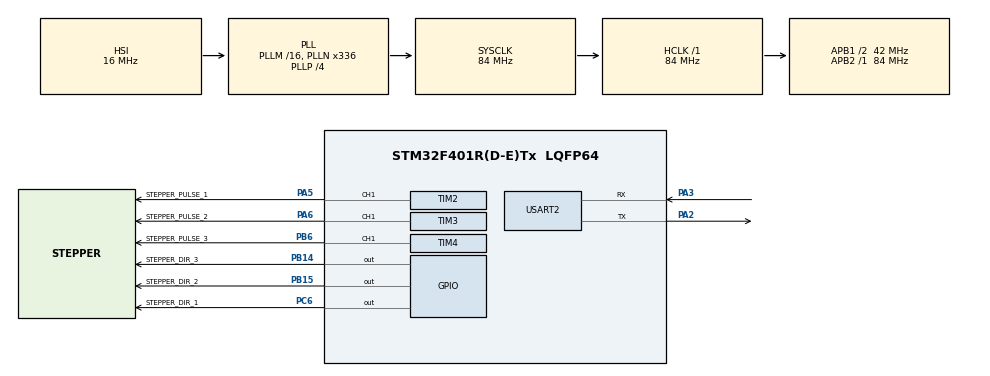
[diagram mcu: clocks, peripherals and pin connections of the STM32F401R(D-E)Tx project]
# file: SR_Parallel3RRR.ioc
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Dma.Request0=USART2_RX
Dma.USART2_RX.0.Direction=DMA_PERIPH_TO_MEMORY
Dma.USART2_RX.0.FIFOMode=DMA_FIFOMODE_DISABLE
Dma.USART2_RX.0.Instance=DMA1_Stream5
Dma.USART2_RX.0.MemDataAlignment=DMA_MDATAALIGN_BYTE
Dma.USART2_RX.0.MemInc=DMA_MINC_ENABLE
Dma.USART2_RX.0.Mode=DMA_NORMAL
Dma.USART2_RX.0.PeriphDataAlignment=DMA_PDATAALIGN_BYTE
Dma.USART2_RX.0.PeriphInc=DMA_PINC_DISABLE
Dma.USART2_RX.0.Priority=DMA_PRIORITY_LOW
Mcu.Family=STM32F4
Mcu.Name=STM32F401R(D-E)Tx
Mcu.Package=LQFP64
NVIC.DMA1_Stream5_IRQn=true\:0\:0\:false\:false\:true\:false\:true\:true
NVIC.PriorityGroup=NVIC_PRIORITYGROUP_0
NVIC.TIM2_IRQn=true\:0\:0\:false\:false\:true\:true\:true\:true
NVIC.TIM3_IRQn=true\:0\:0\:false\:false\:true\:true\:true\:true
NVIC.TIM4_IRQn=true\:0\:0\:false\:false\:true\:true\:true\:true
NVIC.USART2_IRQn=true\:0\:0\:false\:false\:true\:true\:true\:true
PA13.GPIO_Label=TMS
PA13.Mode=Serial_Wire
PA13.Signal=SYS_JTMS-SWDIO
PA14.GPIO_Label=TCK
PA14.Mode=Serial_Wire
PA14.Signal=SYS_JTCK-SWCLK
PA2.Mode=Asynchronous
PA2.Signal=USART2_TX
PA3.Mode=Asynchronous
PA3.Signal=USART2_RX
PA5.GPIO_Label=STEPPER_PULSE_1
PA5.Signal=S_TIM2_CH1_ETR
PA6.GPIO_Label=STEPPER_PULSE_2
PA6.Signal=S_TIM3_CH1
PB14.GPIO_Label=STEPPER_DIR_3
PB14.Signal=GPIO_Output
PB15.GPIO_Label=STEPPER_DIR_2
PB15.Signal=GPIO_Output
PB3.GPIO_Label=SWO
PB3.Signal=SYS_JTDO-SWO
PB6.GPIO_Label=STEPPER_PULSE_3
PB6.Signal=S_TIM4_CH1
PC14-OSC32_IN.Mode=LSE-External-Oscillator
PC14-OSC32_IN.Signal=RCC_OSC32_IN
PC15-OSC32_OUT.Mode=LSE-External-Oscillator
PC15-OSC32_OUT.Signal=RCC_OSC32_OUT
PC6.GPIO_Label=STEPPER_DIR_1
PC6.Signal=GPIO_Output
PH0\ -\ OSC_IN.Mode=HSE-External-Clock-Source
PH0\ -\ OSC_IN.Signal=RCC_OSC_IN
PH1\ -\ OSC_OUT.Mode=HSE-External-Clock-Source
PH1\ -\ OSC_OUT.Signal=RCC_OSC_OUT
ProjectManager.HeapSize=0x200
ProjectManager.StackSize=0x400
ProjectManager.TargetToolchain=STM32CubeIDE
RCC.48MHZClocksFreq_Value=48000000
RCC.AHBFreq_Value=84000000
RCC.APB1CLKDivider=RCC_HCLK_DIV2
RCC.APB1Freq_Value=42000000
RCC.APB1TimFreq_Value=84000000
RCC.APB2Freq_Value=84000000
RCC.APB2TimFreq_Value=84000000
RCC.CortexFreq_Value=84000000
RCC.HCLKFreq_Value=84000000
RCC.HSE_VALUE=8000000
RCC.HSI_VALUE=16000000
RCC.PLLN=336
RCC.PLLP=RCC_PLLP_DIV4
RCC.PLLQ=7
RCC.SYSCLKFreq_VALUE=84000000
RCC.SYSCLKSource=RCC_SYSCLKSOURCE_PLLCLK
RCC.VCOOutputFreq_Value=336000000
SH.S_TIM2_CH1_ETR.0=TIM2_CH1,Output Compare1 CH1
SH.S_TIM3_CH1.0=TIM3_CH1,Output Compare1 CH1
SH.S_TIM4_CH1.0=TIM4_CH1,Output Compare1 CH1
TIM2.AutoReloadPreload=TIM_AUTORELOAD_PRELOAD_ENABLE
TIM2.Channel-Output\ Compare1\ CH1=TIM_CHANNEL_1
TIM2.OCMode_1=TIM_OCMODE_TOGGLE
TIM2.Period=65535
TIM2.Prescaler=400-1
TIM2.Pulse-Output\ Compare1\ CH1=1
TIM2.TIM_MasterOutputTrigger=TIM_TRGO_UPDATE
TIM3.AutoReloadPreload=TIM_AUTORELOAD_PRELOAD_ENABLE
TIM3.Channel-Output\ Compare1\ CH1=TIM_CHANNEL_1
TIM3.OC1Preload=DISABLE
TIM3.OCMode_1=TIM_OCMODE_TOGGLE
TIM3.Prescaler=400-1
TIM3.Pulse-Output\ Compare1\ CH1=1
TIM3.TIM_MasterOutputTrigger=TIM_TRGO_UPDATE
TIM4.AutoReloadPreload=TIM_AUTORELOAD_PRELOAD_ENABLE
TIM4.Channel-Output\ Compare1\ CH1=TIM_CHANNEL_1
TIM4.OCMode_1=TIM_OCMODE_TOGGLE
TIM4.Prescaler=400-1
TIM4.Pulse-Output\ Compare1\ CH1=1
TIM4.TIM_MasterOutputTrigger=TIM_TRGO_UPDATE
TIM5.Prescaler=84-1
USART2.VirtualMode=VM_ASYNC
VP_TIM5_VS_ClockSourceINT.Mode=Internal
board=NUCLEO-F401RE

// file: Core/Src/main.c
/* USER CODE BEGIN Header */
/**
  ******************************************************************************
  * @file           : main.c
  * @brief          : Main program body
  ******************************************************************************
  * @attention
  *
  * Copyright (c) 2022 STMicroelectronics.
  * All rights reserved.
  *
  * This software is licensed under terms that can be found in the LICENSE file
  * in the root directory of this software component.
  * If no LICENSE file comes with this software, it is provided AS-IS.
  *
  ******************************************************************************
  */
/* USER CODE END Header */
#include "main.h"

/* USER CODE BEGIN Includes */

#include <string.h>
#include <stdio.h>
#include <math.h>
#include "./motor_const.h"

/* USER CODE END Includes */

/* USER CODE BEGIN PD */

#define RxBuf_SIZE 64
#define MainBuf_SIZE 128

uint8_t RxBuf[RxBuf_SIZE];
uint8_t MainBuf[MainBuf_SIZE];

/* USER CODE END PD */

TIM_HandleTypeDef htim2;
TIM_HandleTypeDef htim3;
TIM_HandleTypeDef htim4;
TIM_HandleTypeDef htim5;

UART_HandleTypeDef huart2;
DMA_HandleTypeDef hdma_usart2_rx;

/* USER CODE BEGIN PV */

motorInfo test;

motorInfo motor_1;
motorInfo motor_2;
motorInfo motor_3;

volatile int flag_motor_1_done=0;
volatile int flag_motor_2_done=0;
volatile int flag_motor_3_done=0;

volatile int flag_command_recieved = 0;
uint16_t size_recieved=0;

/* USER CODE END PV */

void SystemClock_Config(void);
static void MX_GPIO_Init(void);
static void MX_TIM3_Init(void);
static void MX_TIM4_Init(void);
static void MX_TIM2_Init(void);
static void MX_DMA_Init(void);
static void MX_USART2_UART_Init(void);
static void MX_TIM5_Init(void);
/* USER CODE BEGIN PFP */

int _write( int file,unsigned char *ptr, int len)
{
	HAL_UART_Transmit(&huart2, ptr, len, HAL_MAX_DELAY);
	return len;
}

float correction(unsigned long steps, unsigned long accel)
{

	if(accel ==0)
		return 0;
	if(steps ==0)
		return 0;
	return pow(50,0.5)*((-0.1956)*pow(steps,-0.4198)+(0.1559*0.9885))/sqrt(accel);
}

float estimate_ttc(motorInfo *motor)
{
	float tmp;
	if(motor->accel_stop <= motor->peak_velocity)
		{
		motor->acc_time= motor->max_speed/(double)motor->acceleration;
		tmp = (motor->max_speed)*((double)1/motor->acceleration +(double)1/motor->deceleration);
		//tmp = (motor->max_speed)*((double)1/motor->acceleration +(double)1/motor->deceleration)-correction(motor->accel_stop,motor->acceleration) - correction(motor->total_steps-motor->decel_start,motor->deceleration);
		tmp += (motor->decel_start-motor->accel_stop)*(double)ALPHA*1000/motor->max_speed;
		}
	else
		{
			/*tmp = (double)sqrt(2000*ALPHA*motor->total_steps);
			tmp *=1.0/sqrt(motor->acceleration) + 1.0/sqrt(motor->deceleration);
			*/
			motor->acc_time=sqrt(2000*ALPHA*motor->peak_velocity/motor->acceleration);
			//tmp=sqrt(2000*ALPHA*motor->peak_velocity/motor->acceleration)-correction(motor->peak_velocity,motor->acceleration);
			tmp=sqrt(2000*ALPHA*motor->peak_velocity/motor->acceleration);

		//	tmp+=sqrt(2000*ALPHA*(motor->total_steps-motor->peak_velocity)/motor->deceleration)-correction(motor->total_steps-motor->peak_velocity,motor->deceleration);
			tmp+=sqrt(2000*ALPHA*(motor->total_steps-motor->peak_velocity)/motor->deceleration);
			motor->dec_time=sqrt(2000*ALPHA*(motor->total_steps-motor->peak_velocity)/motor->deceleration);

		}

	//motor->time_before_correction =tmp;
	return tmp;
}

double acc_equation(unsigned long steps, unsigned long time,unsigned long acc)//równanie opisujące przyspieszenie w przypadku z ruchem jednostajnym
{
	double eq = MAX_VEL*1000/acc;
	eq -= 2*pow(50,0.5)*(0.1559*0.9885)/sqrt(acc);
	eq -= 2*pow(50,0.5)*(-0.1956)*pow(MAX_VEL/(2*ALPHA),-0.4198)/pow(acc,0.5-0.4198);
	eq -= time-steps*ALPHA/MAX_VEL;

	return eq;
}

unsigned long secant_acc(unsigned long steps, unsigned long time)
{

	//ograniczyc wartosci

	double x_n2=0.01;
	double x_n1=10000;

	double tmp;

	while(fabs(x_n1-x_n2)>=0.01)
	{
		tmp=x_n1;
		x_n1=x_n1-acc_equation(steps, time, x_n1)*(x_n1-x_n2)/(acc_equation(steps, time, x_n1)-acc_equation(steps, time, x_n2));
		x_n2=tmp;
	}

	return x_n1;

}

unsigned long desired_acceleration(unsigned long steps, unsigned long time)
{
	//jeżeli czas jest za krótki by wykonać ruch z maksymalną prędkością, zostanie wydłużony do tego czasu, i odwrotnie jezeli czas jest za dlugi

/*
		if(ALPHA*steps/MAX_VEL > time)
			time = 0.95*(ALPHA*steps/MAX_VEL);//mnożymy przez 0.95 by zapewnić płynniejsze przyspieszanie niż gwałtowny skok z 0 do max

		if(ALPHA*steps/MIN_VEL < time)
			time = 1.05*(ALPHA*steps/MIN_VEL);//jezeli czas jest za długi by ruch w nim wykonac z prędkością minimalną
*/
	//	printf("time: %ld\r\n",time);

		unsigned long t_acc;//czas w jakim wykonany by był ruch z największym przyspieszeniem nie powodującym ruchu jednostajnego
/*
		t_acc=2000*ALPHA*steps;
		printf("timeacc: %f\r\n",t_acc);
		t_acc -= 2000*pow(50,0.5)*((-0.1956)*pow(steps/2,-0.4198)+(0.1559*0.9885))*sqrt(ALPHA*steps);
		printf("timeacc: %f\r\n",t_acc);
		t_acc /=MAX_VEL;
		printf("timeacc: %f\r\n",t_acc);
		printf("FIN\r\n");
*/

		t_acc = 2000000*ALPHA*steps/MAX_VEL;
		unsigned long desired_acc;

		printf("t_acc: %lu\r\n",t_acc);
		double tmp;

		if(time>=t_acc) //przypadek bez ruchu jednostajnego
		{
			/*
			tmp= pow(2000*(sqrt(ALPHA*steps)-pow(50,0.5)*((-0.1956)*pow(steps*0.5,-0.4198)+(0.1559*0.9885))),2);
			printf("calculated_acc: %f\r\n",tmp);

			tmp *=1000;
			printf("calculated_acc: %f\r\n",tmp);

			tmp /=pow(time,2);
			desired_acc=tmp;
			printf("calculated_acc: %f\r\n",tmp);
			printf("FIN\r\n");
*/

			tmp = 4*ALPHA*steps/pow(time,2);
			desired_acc = tmp*pow(1000,3);

		}
		else // przypadek z ruchem jednostajnym
		{

			//desired_acc= secant_acc(steps, time);
			tmp = MAX_VEL*time-pow(1000,2)*ALPHA*steps;
			desired_acc = 1000*pow(MAX_VEL,2)/tmp;

		}

		if(desired_acc>8000000)//maksymalne możliwe przyspieszenie, wartość trochę mniejsza niż wyliczona by nie dopuścić do zbyt gwałtownych ruchów
			desired_acc=8000000;

			return desired_acc;

}

void init_movement(motorInfo *motor, long total_steps, unsigned long accel, unsigned long decel, unsigned max)
{

		max = max <= MIN_VEL? MIN_VEL:max;
		motor->max_speed = (max >= MAX_VEL) ? MAX_VEL : max;
		motor->dir = total_steps>0 ? 1 : -1;

		HAL_GPIO_WritePin(motor->GPIOX, motor->GPIO_Label, motor->dir > 0);

		motor->total_steps=total_steps>0?total_steps:-total_steps;
		motor->rest=0;
		motor->state=ACCEL;

		motor->auto_reload=0.676*CLK_FRQ*sqrt(2000*ALPHA/accel)/(motor->timer->Instance->PSC+1);// length of current pulse in timer ticks
		motor->max_speed_ARR = CLK_FRQ*ALPHA*1000/motor->max_speed/(motor->timer->Instance->PSC+1);
		motor->accel_stop = motor->max_speed*motor->max_speed/(2000*ALPHA*accel);

		if(!motor->accel_stop)
			motor->accel_stop =1 ;

		motor->peak_velocity=(motor->total_steps*(unsigned long long)decel)/(accel+decel);

		if(!motor->peak_velocity)
			motor->peak_velocity =1;

		if(motor->accel_stop <= motor->peak_velocity)
			motor->decel_start= (motor->total_steps-(motor->accel_stop*accel)/decel);
		else
			motor->decel_start = motor->peak_velocity;

		motor->movement_done=0;
		motor->acceleration=accel;
		motor->deceleration=decel;
		motor->steps=0;

		motor->time_to_complete=estimate_ttc(motor);

		motor->T1=motor->T2=motor->T3=0;

		motor->timer->Instance->ARR=motor->auto_reload;
		//generujemy update resetując rejestry
		//bez tego nie działa, 4 godziny życia za mną :(
		motor->timer->Instance->EGR |= TIM_EGR_UG;
//printf("TUTAJ");

}

void begin_movement(motorInfo *motor)
{
	motor->T1 = __HAL_TIM_GET_COUNTER(&htim5);
	motor->movement_start=__HAL_TIM_GET_COUNTER(&htim5);
	HAL_TIM_OC_Start(motor->timer,TIM_CHANNEL_1);
	HAL_TIM_Base_Start_IT(motor->timer);
}

void init_movement_time(motorInfo *motor,long total_steps, unsigned long time)
{

	unsigned long accel = desired_acceleration(abs(total_steps), time);

	//printf("Calculated:  %d\r\n",accel);
	init_movement(motor, total_steps, accel, accel, MAX_VEL);

}

void reset_motor(motorInfo *motor,TIM_HandleTypeDef *timer,GPIO_TypeDef *GPIOX,uint16_t GPIO_Label)
{
	motor->timer = timer;
	motor->GPIOX = GPIOX;
	motor->GPIO_Label=GPIO_Label;
	test.movement_done=1;
	motor->step_position=0;
	motor->total_steps=0;

	HAL_GPIO_WritePin(motor->GPIOX, motor->GPIO_Label, motor->dir>0);
	HAL_TIM_OC_Stop(motor->timer,TIM_CHANNEL_1);

}

double positive_root(double a, double b, double c)
{
	return (-b+sqrt(pow(b,2)-4*a*c))/(2*a);
}
double negative_root(double a, double b, double c)
{
	return (-b-sqrt(pow(b,2)-4*a*c))/(2*a);
}

long inverse_single_joint(double vx, double vy, double vz)
{

	vx = 0.6966;
	vy = -0.6769;
	vz = -0.2379;

		double a=-vy*sqrt(2)/2.0-vz*sqrt(2)/2.0;
		double b= vx*sqrt(2)/2.0;
		double c= vy*sqrt(2)/2.0-vz*sqrt(2)/2.0;
		double tmp1,tmp2;

		printf("%f %f %f\r\nRoots: ",a,b,c);

		tmp1 = positive_root(a, 2 * b, c);
		tmp2 = negative_root(a, 2 * b, c);
		printf("tmp1: %f tmp2: %f\r\n", tmp1, tmp2);

		if(a==0 && b == 0)
			tmp1=tmp2=0;

		if(a==0&&b!=0)
		{
			tmp1=tmp2=-c/b;
		}
		else
		if(a!=0){
			tmp1 = 2*atan(positive_root(a, 2*b, c));
			tmp2 = 2*atan(negative_root(a, 2*b, c));
			printf("tmp1: %f tmp2:x %f\r\n",tmp1,tmp2);

			if(tmp1>tmp2)
				tmp1=tmp2;
		}

		tmp1= - tmp1;

		printf("rad tmp: %f  %ld\r\n\n\n",tmp1,(long)(tmp1/ALPHA));

		return (long)(tmp1/ALPHA);
}

void inverse_kinematics(long roll, long pitch, long yaw, long *pos_1, long *pos_2, long *pos_3)
{

	double vx,vy,vz;
	double phi,theta,psi;
	phi = roll*3.14159/180000;
	theta = pitch*3.14159/180000;
	psi = yaw*3.14159/180000;
	//motor1
	double tmp;
	//printf("%f %f %f\r\n",phi,theta,psi);

	vx=cos(phi)*cos(theta);
	vy=sin(phi)*cos(theta);
	vz=-sin(theta);

/*
	vx=-sin(psi)*sin(psi)-cos(phi)*cos(psi)*sin(theta);
	vy=cos(psi)*sin(phi) - cos(phi)*sin(psi)*sin(theta);
	vz=-cos(phi)*cos(theta);

*/

	(*pos_1)=inverse_single_joint(vx, vy, vz);
	tmp = pow(vx,2)+pow(vy,2)+pow(vz,2);

	printf("pos1: %ld  norm^2: %f\r\n",*pos_1,tmp);

	//motor2
	vx = cos(phi) * sin(theta)*sin(psi)-sin(phi)*cos(psi);
	vy = sin(phi) * sin(theta)*sin(psi)+cos(phi)*cos(psi);
	vz = cos(theta)*sin(psi);
	(*pos_2)=inverse_single_joint(vx, vy, vz);
	printf("pos2: %ld  norm^2: %f\r\n",*pos_2,tmp);

	//motor3
	vx = cos(phi) * sin(theta)*cos(psi)+sin(phi)*sin(psi);
	vy = sin(phi) * sin(theta)*cos(psi)-cos(phi)*sin(psi);
	vz = cos(theta)*cos(psi);
	(*pos_3)=inverse_single_joint(vx, vy, vz);
	printf("pos3: %ld  norm^2: %f\r\n",*pos_3,tmp);

}

void movement_done_display(motorInfo *motor)
{

	printf("Motor done in:%f s\r\n",
					(__HAL_TIM_GET_COUNTER(&htim5) - motor->movement_start) / 1000000.0);
			motor->movement_done=0;
	printf("Acceleration used: %u, Current position: %d \r\n",motor->acceleration,motor->step_position);
}

unsigned long calculate_auto_reload(motorInfo *motor)
{

	if(motor->steps < motor->total_steps)
	{
		motor->step_position+=motor->dir;
	}
	else
		motor->state=STOP;

	motor->steps++;
	unsigned long  tmp=0;

	switch (motor->state)
	{
	case STOP:

		motor->movement_done=1;
		//flag_htim2_done=1;
		HAL_TIM_OC_Stop(motor->timer,TIM_CHANNEL_1);
		HAL_TIM_Base_Stop_IT(motor->timer);

			motor->T3 = __HAL_TIM_GET_COUNTER(&htim5) - motor->T3;

		return motor->auto_reload;
		break;
	case ACCEL:

		tmp=motor->rest;
		motor->rest =(2*motor->auto_reload + tmp)%(4*motor->steps + 1);
		motor->auto_reload -= (2*motor->auto_reload + tmp)/(4*motor->steps + 1);

		if(motor->steps>=motor->decel_start)
			{
	  		 motor->T1 = __HAL_TIM_GET_COUNTER(&htim5)-motor->T1;

	  	//	 htim5.Instance->CNT=0;
	  		 motor->T3 =  __HAL_TIM_GET_COUNTER(&htim5);

				motor->state=DECEL;
			}
		else if(motor->steps >= motor->accel_stop)
		{
			motor->T1 = __HAL_TIM_GET_COUNTER(&htim5)-motor->T1;

		//	 htim5.Instance->CNT=0;
			motor->T2 =  __HAL_TIM_GET_COUNTER(&htim5);

			motor->state = RUN;
			motor->auto_reload = motor->max_speed_ARR;
		}
		break;
	case RUN:
		if(motor->steps >= motor->decel_start)
		{
			motor->T2 =  __HAL_TIM_GET_COUNTER(&htim5)-motor->T2;
		//	htim5.Instance->CNT=0;
			motor->T3 =  __HAL_TIM_GET_COUNTER(&htim5);
			motor->state=DECEL;
				//motor->rest=0;
		}
		break;
	case DECEL:
		tmp=motor->rest;
		motor->rest =(long)((2*motor->auto_reload + motor->rest))%(4*((long)(motor->steps-motor->total_steps)) + 1);
		motor->auto_reload -= (long)((2*motor->auto_reload + tmp))/(4*((long)(motor->steps-motor->total_steps)) + 1);
		break;

	}

	return (motor->auto_reload);

}

/* USER CODE END PFP */

/* USER CODE BEGIN 0 */

	uint8_t Rx_data[256];

/* USER CODE END 0 */

int main(void)
{

  /* MCU Configuration--------------------------------------------------------*/

  /* Reset of all peripherals, Initializes the Flash interface and the Systick. */
  HAL_Init();

  /* Configure the system clock */
  SystemClock_Config();

  /* Initialize all configured peripherals */
  MX_GPIO_Init();
  MX_TIM3_Init();
  MX_TIM4_Init();
  MX_TIM2_Init();
  MX_DMA_Init();
  MX_USART2_UART_Init();
  MX_TIM5_Init();
  /* USER CODE BEGIN 2 */

	  reset_motor(&motor_1,&htim2,STEPPER_DIR_1_GPIO_Port, STEPPER_DIR_1_Pin);
	  reset_motor(&motor_2,&htim3,STEPPER_DIR_2_GPIO_Port, STEPPER_DIR_2_Pin);
	  reset_motor(&motor_3,&htim4,STEPPER_DIR_3_GPIO_Port, STEPPER_DIR_3_Pin);

	//  HAL_TIM_Base_Start_IT(&htim3);
	 // HAL_TIM_Base_Start_IT(&htim4);
	  HAL_TIM_Base_Start_IT(&htim5);

  HAL_UARTEx_ReceiveToIdle_DMA(&huart2, RxBuf, RxBuf_SIZE);
  __HAL_DMA_DISABLE_IT(&hdma_usart2_rx,DMA_IT_HT);

flag_command_recieved=0;

	unsigned long timer_val;
  long roll, pitch, yaw;
  long steps_1,steps_2,steps_3;
  unsigned time;
  printf("Start\r\n");
  /* USER CODE END 2 */

  /* Infinite loop */
  /* USER CODE BEGIN WHILE */
  while (1)
  {
	  /*
	  if(flag_htim2_done)
	  {
		  timer_val = __HAL_TIM_GET_COUNTER(&htim5)-timer_val;

		  printf("Done in %f, expected: %f corrected: %f MotorPos: %d\r\n",timer_val/1000000.0,test.acc_time+test.dec_time,test.time_to_complete, test.step_position);
		  printf("Time breakdown --- T1: %f   T2: %f   T3: %f\r\n", (double)test.T1/1000000, (double)test.T2/1000000, (double)test.T3/1000000);
		  tmp = ((double)test.T1/1000000+(double)test.T2/1000000+(double)test.T3/1000000);
		  printf("T_approx - T_exact : %fs , Error as percentege of actual time %f \n",test.time_to_complete-tmp,(test.time_to_complete*100.0/tmp-100.0));
		  printf("Uncorrected error as percentrage: %f \n",(test.acc_time+test.dec_time)*100.0/tmp-100.0);

		  tmp = ((double)test.T1/1000000);
		  printf("acc time estimate: %fs ,Delta %fs, error as percentage: %f",test.acc_time,(test.acc_time-tmp), test.acc_time*100.0/tmp-100.0);
		  printf("\r\n\r\n---------\r\n\r\n");
		  flag_htim2_done=0;

	  }*/
	if (motor_1.movement_done) {
		printf("Motor 1 done\r\n");
		movement_done_display(&motor_1);
	}
	if (motor_2.movement_done) {
		printf("Motor 2 done\r\n");
				movement_done_display(&motor_2);

	}
	if (motor_3.movement_done) {
		printf("Motor 3 done\r\n");
				movement_done_display(&motor_3);

	}

	  if(flag_command_recieved)
	  {
			memcpy(MainBuf, RxBuf, size_recieved);
			HAL_UARTEx_ReceiveToIdle_DMA(&huart2, RxBuf, RxBuf_SIZE);
			__HAL_DMA_DISABLE_IT(&hdma_usart2_rx, DMA_IT_HT);

			printf("Recieved: %s \r\n", MainBuf);

			sscanf(MainBuf, "%d %d %d %u", &steps_1,&steps_2,&steps_3,&time);
			//accel, decel in 1m rad/s^2
			//max_speed in 1m rad/s

			//inverse_kinematics(roll, pitch, yaw, &steps_1, &steps_2, &steps_3);

			init_movement_time(&motor_1, steps_1-motor_1.step_position, time);
			init_movement_time(&motor_2, steps_2-motor_2.step_position, time);
			init_movement_time(&motor_3, steps_3-motor_3.step_position, time);

			htim5.Instance->CNT	=0;

			begin_movement(&motor_1);
			begin_movement(&motor_2);
			begin_movement(&motor_3);
			timer_val = __HAL_TIM_GET_COUNTER(&htim5);
			flag_command_recieved = 0;

	  }
    /* USER CODE END WHILE */

  }
}

void SystemClock_Config(void)
{
  RCC_OscInitTypeDef RCC_OscInitStruct = {0};
  RCC_ClkInitTypeDef RCC_ClkInitStruct = {0};

  /** Configure the main internal regulator output voltage
  */
  __HAL_RCC_PWR_CLK_ENABLE();
  __HAL_PWR_VOLTAGESCALING_CONFIG(PWR_REGULATOR_VOLTAGE_SCALE2);
  /** Initializes the RCC Oscillators according to the specified parameters
  * in the RCC_OscInitTypeDef structure.
  */
  RCC_OscInitStruct.OscillatorType = RCC_OSCILLATORTYPE_HSI;
  RCC_OscInitStruct.HSIState = RCC_HSI_ON;
  RCC_OscInitStruct.HSICalibrationValue = RCC_HSICALIBRATION_DEFAULT;
  RCC_OscInitStruct.PLL.PLLState = RCC_PLL_ON;
  RCC_OscInitStruct.PLL.PLLSource = RCC_PLLSOURCE_HSI;
  RCC_OscInitStruct.PLL.PLLM = 16;
  RCC_OscInitStruct.PLL.PLLN = 336;
  RCC_OscInitStruct.PLL.PLLP = RCC_PLLP_DIV4;
  RCC_OscInitStruct.PLL.PLLQ = 7;
  if (HAL_RCC_OscConfig(&RCC_OscInitStruct) != HAL_OK)
  {
    Error_Handler();
  }
  /** Initializes the CPU, AHB and APB buses clocks
  */
  RCC_ClkInitStruct.ClockType = RCC_CLOCKTYPE_HCLK|RCC_CLOCKTYPE_SYSCLK
                              |RCC_CLOCKTYPE_PCLK1|RCC_CLOCKTYPE_PCLK2;
  RCC_ClkInitStruct.SYSCLKSource = RCC_SYSCLKSOURCE_PLLCLK;
  RCC_ClkInitStruct.AHBCLKDivider = RCC_SYSCLK_DIV1;
  RCC_ClkInitStruct.APB1CLKDivider = RCC_HCLK_DIV2;
  RCC_ClkInitStruct.APB2CLKDivider = RCC_HCLK_DIV1;

  if (HAL_RCC_ClockConfig(&RCC_ClkInitStruct, FLASH_LATENCY_2) != HAL_OK)
  {
    Error_Handler();
  }
}

static void MX_TIM2_Init(void)
{

  TIM_MasterConfigTypeDef sMasterConfig = {0};
  TIM_OC_InitTypeDef sConfigOC = {0};

  htim2.Instance = TIM2;
  htim2.Init.Prescaler = 400-1;
  htim2.Init.CounterMode = TIM_COUNTERMODE_UP;
  htim2.Init.Period = 65535;
  htim2.Init.ClockDivision = TIM_CLOCKDIVISION_DIV1;
  htim2.Init.AutoReloadPreload = TIM_AUTORELOAD_PRELOAD_ENABLE;
  if (HAL_TIM_OC_Init(&htim2) != HAL_OK)
  {
    Error_Handler();
  }
  sMasterConfig.MasterOutputTrigger = TIM_TRGO_UPDATE;
  sMasterConfig.MasterSlaveMode = TIM_MASTERSLAVEMODE_DISABLE;
  if (HAL_TIMEx_MasterConfigSynchronization(&htim2, &sMasterConfig) != HAL_OK)
  {
    Error_Handler();
  }
  sConfigOC.OCMode = TIM_OCMODE_TOGGLE;
  sConfigOC.Pulse = 1;
  sConfigOC.OCPolarity = TIM_OCPOLARITY_HIGH;
  sConfigOC.OCFastMode = TIM_OCFAST_DISABLE;
  if (HAL_TIM_OC_ConfigChannel(&htim2, &sConfigOC, TIM_CHANNEL_1) != HAL_OK)
  {
    Error_Handler();
  }
  HAL_TIM_MspPostInit(&htim2);

}

static void MX_TIM3_Init(void)
{

  TIM_MasterConfigTypeDef sMasterConfig = {0};
  TIM_OC_InitTypeDef sConfigOC = {0};

  htim3.Instance = TIM3;
  htim3.Init.Prescaler = 400-1;
  htim3.Init.CounterMode = TIM_COUNTERMODE_UP;
  htim3.Init.Period = 65535;
  htim3.Init.ClockDivision = TIM_CLOCKDIVISION_DIV1;
  htim3.Init.AutoReloadPreload = TIM_AUTORELOAD_PRELOAD_ENABLE;
  if (HAL_TIM_OC_Init(&htim3) != HAL_OK)
  {
    Error_Handler();
  }
  sMasterConfig.MasterOutputTrigger = TIM_TRGO_UPDATE;
  sMasterConfig.MasterSlaveMode = TIM_MASTERSLAVEMODE_DISABLE;
  if (HAL_TIMEx_MasterConfigSynchronization(&htim3, &sMasterConfig) != HAL_OK)
  {
    Error_Handler();
  }
  sConfigOC.OCMode = TIM_OCMODE_TOGGLE;
  sConfigOC.Pulse = 1;
  sConfigOC.OCPolarity = TIM_OCPOLARITY_HIGH;
  sConfigOC.OCFastMode = TIM_OCFAST_DISABLE;
  if (HAL_TIM_OC_ConfigChannel(&htim3, &sConfigOC, TIM_CHANNEL_1) != HAL_OK)
  {
    Error_Handler();
  }
  HAL_TIM_MspPostInit(&htim3);

}

static void MX_TIM4_Init(void)
{

  TIM_MasterConfigTypeDef sMasterConfig = {0};
  TIM_OC_InitTypeDef sConfigOC = {0};

  htim4.Instance = TIM4;
  htim4.Init.Prescaler = 400-1;
  htim4.Init.CounterMode = TIM_COUNTERMODE_UP;
  htim4.Init.Period = 65535;
  htim4.Init.ClockDivision = TIM_CLOCKDIVISION_DIV1;
  htim4.Init.AutoReloadPreload = TIM_AUTORELOAD_PRELOAD_ENABLE;
  if (HAL_TIM_OC_Init(&htim4) != HAL_OK)
  {
    Error_Handler();
  }
  sMasterConfig.MasterOutputTrigger = TIM_TRGO_UPDATE;
  sMasterConfig.MasterSlaveMode = TIM_MASTERSLAVEMODE_DISABLE;
  if (HAL_TIMEx_MasterConfigSynchronization(&htim4, &sMasterConfig) != HAL_OK)
  {
    Error_Handler();
  }
  sConfigOC.OCMode = TIM_OCMODE_TOGGLE;
  sConfigOC.Pulse = 1;
  sConfigOC.OCPolarity = TIM_OCPOLARITY_HIGH;
  sConfigOC.OCFastMode = TIM_OCFAST_DISABLE;
  if (HAL_TIM_OC_ConfigChannel(&htim4, &sConfigOC, TIM_CHANNEL_1) != HAL_OK)
  {
    Error_Handler();
  }
  HAL_TIM_MspPostInit(&htim4);

}

static void MX_TIM5_Init(void)
{

  TIM_ClockConfigTypeDef sClockSourceConfig = {0};
  TIM_MasterConfigTypeDef sMasterConfig = {0};

  htim5.Instance = TIM5;
  htim5.Init.Prescaler = 84-1;
  htim5.Init.CounterMode = TIM_COUNTERMODE_UP;
  htim5.Init.Period = 4294967295;
  htim5.Init.ClockDivision = TIM_CLOCKDIVISION_DIV1;
  htim5.Init.AutoReloadPreload = TIM_AUTORELOAD_PRELOAD_DISABLE;
  if (HAL_TIM_Base_Init(&htim5) != HAL_OK)
  {
    Error_Handler();
  }
  sClockSourceConfig.ClockSource = TIM_CLOCKSOURCE_INTERNAL;
  if (HAL_TIM_ConfigClockSource(&htim5, &sClockSourceConfig) != HAL_OK)
  {
    Error_Handler();
  }
  sMasterConfig.MasterOutputTrigger = TIM_TRGO_RESET;
  sMasterConfig.MasterSlaveMode = TIM_MASTERSLAVEMODE_DISABLE;
  if (HAL_TIMEx_MasterConfigSynchronization(&htim5, &sMasterConfig) != HAL_OK)
  {
    Error_Handler();
  }

}

static void MX_USART2_UART_Init(void)
{

  huart2.Instance = USART2;
  huart2.Init.BaudRate = 115200;
  huart2.Init.WordLength = UART_WORDLENGTH_8B;
  huart2.Init.StopBits = UART_STOPBITS_1;
  huart2.Init.Parity = UART_PARITY_NONE;
  huart2.Init.Mode = UART_MODE_TX_RX;
  huart2.Init.HwFlowCtl = UART_HWCONTROL_NONE;
  huart2.Init.OverSampling = UART_OVERSAMPLING_16;
  if (HAL_UART_Init(&huart2) != HAL_OK)
  {
    Error_Handler();
  }

}

static void MX_DMA_Init(void)
{

  /* DMA controller clock enable */
  __HAL_RCC_DMA1_CLK_ENABLE();

  /* DMA interrupt init */
  /* DMA1_Stream5_IRQn interrupt configuration */
  HAL_NVIC_SetPriority(DMA1_Stream5_IRQn, 0, 0);
  HAL_NVIC_EnableIRQ(DMA1_Stream5_IRQn);

}

static void MX_GPIO_Init(void)
{
  GPIO_InitTypeDef GPIO_InitStruct = {0};

  /* GPIO Ports Clock Enable */
  __HAL_RCC_GPIOC_CLK_ENABLE();
  __HAL_RCC_GPIOH_CLK_ENABLE();
  __HAL_RCC_GPIOA_CLK_ENABLE();
  __HAL_RCC_GPIOB_CLK_ENABLE();

  /*Configure GPIO pin Output Level */
  HAL_GPIO_WritePin(GPIOB, STEPPER_DIR_3_Pin|STEPPER_DIR_2_Pin, GPIO_PIN_RESET);

  /*Configure GPIO pin Output Level */
  HAL_GPIO_WritePin(STEPPER_DIR_1_GPIO_Port, STEPPER_DIR_1_Pin, GPIO_PIN_RESET);

  /*Configure GPIO pins : STEPPER_DIR_3_Pin STEPPER_DIR_2_Pin */
  GPIO_InitStruct.Pin = STEPPER_DIR_3_Pin|STEPPER_DIR_2_Pin;
  GPIO_InitStruct.Mode = GPIO_MODE_OUTPUT_PP;
  GPIO_InitStruct.Pull = GPIO_NOPULL;
  GPIO_InitStruct.Speed = GPIO_SPEED_FREQ_LOW;
  HAL_GPIO_Init(GPIOB, &GPIO_InitStruct);

  /*Configure GPIO pin : STEPPER_DIR_1_Pin */
  GPIO_InitStruct.Pin = STEPPER_DIR_1_Pin;
  GPIO_InitStruct.Mode = GPIO_MODE_OUTPUT_PP;
  GPIO_InitStruct.Pull = GPIO_NOPULL;
  GPIO_InitStruct.Speed = GPIO_SPEED_FREQ_LOW;
  HAL_GPIO_Init(STEPPER_DIR_1_GPIO_Port, &GPIO_InitStruct);

}

/* USER CODE BEGIN 4 */

void HAL_UARTEx_RxEventCallback(UART_HandleTypeDef *huart, uint16_t Size)
{

	if(huart->Instance == USART2)
	{
		flag_command_recieved=1;
		size_recieved=Size;
	}

}

void HAL_TIM_PeriodElapsedCallback(TIM_HandleTypeDef *htim)
{
	if(htim == motor_1.timer)
	{
		if(!motor_1.movement_done)
			TIM2->ARR=calculate_auto_reload(&motor_1);

	}
	else
	if(htim == motor_2.timer)
		{
			if(!motor_2.movement_done)
				TIM3->ARR=calculate_auto_reload(&motor_2);

		}
	else
	if(htim == motor_3.timer)
		{
			if(!motor_3.movement_done)
				TIM4->ARR=calculate_auto_reload(&motor_3);

		}
}

/* USER CODE END 4 */

void Error_Handler(void)
{
  __disable_irq();
  while (1)
  {
  }
}
